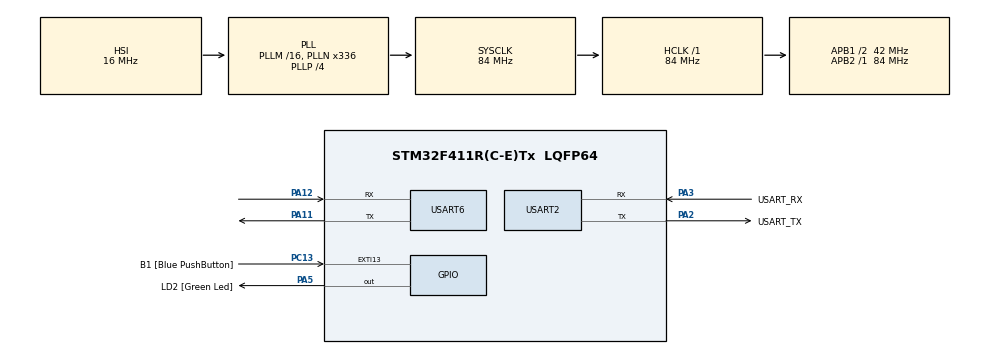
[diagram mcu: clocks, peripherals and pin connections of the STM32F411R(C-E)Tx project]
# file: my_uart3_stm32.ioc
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Mcu.Family=STM32F4
Mcu.Name=STM32F411R(C-E)Tx
Mcu.Package=LQFP64
NVIC.PriorityGroup=NVIC_PRIORITYGROUP_0
NVIC.USART2_IRQn=true\:0\:0\:false\:false\:true\:true\:true\:true
NVIC.USART6_IRQn=true\:0\:0\:false\:false\:true\:true\:true\:true
PA11.Mode=Asynchronous
PA11.Signal=USART6_TX
PA12.Mode=Asynchronous
PA12.Signal=USART6_RX
PA13.GPIO_Label=TMS
PA13.Mode=Serial_Wire
PA13.Signal=SYS_JTMS-SWDIO
PA14.GPIO_Label=TCK
PA14.Mode=Serial_Wire
PA14.Signal=SYS_JTCK-SWCLK
PA2.GPIO_Label=USART_TX
PA2.Mode=Asynchronous
PA2.Signal=USART2_TX
PA3.GPIO_Label=USART_RX
PA3.Mode=Asynchronous
PA3.Signal=USART2_RX
PA5.GPIO_Label=LD2 [Green Led]
PA5.Signal=GPIO_Output
PB3.GPIO_Label=SWO
PB3.Signal=SYS_JTDO-SWO
PC13-ANTI_TAMP.GPIO_Label=B1 [Blue PushButton]
PC13-ANTI_TAMP.GPIO_ModeDefaultEXTI=GPIO_MODE_IT_FALLING
PC13-ANTI_TAMP.Signal=GPXTI13
PC14-OSC32_IN.Mode=LSE-External-Oscillator
PC14-OSC32_IN.Signal=RCC_OSC32_IN
PC15-OSC32_OUT.Mode=LSE-External-Oscillator
PC15-OSC32_OUT.Signal=RCC_OSC32_OUT
PH0\ -\ OSC_IN.Mode=HSE-External-Clock-Source
PH0\ -\ OSC_IN.Signal=RCC_OSC_IN
PH1\ -\ OSC_OUT.Mode=HSE-External-Clock-Source
PH1\ -\ OSC_OUT.Signal=RCC_OSC_OUT
ProjectManager.HeapSize=0x200
ProjectManager.StackSize=0x400
ProjectManager.TargetToolchain=STM32CubeIDE
RCC.48MHZClocksFreq_Value=84000000
RCC.AHBFreq_Value=84000000
RCC.APB1CLKDivider=RCC_HCLK_DIV2
RCC.APB1Freq_Value=42000000
RCC.APB1TimFreq_Value=84000000
RCC.APB2Freq_Value=84000000
RCC.APB2TimFreq_Value=84000000
RCC.CortexFreq_Value=84000000
RCC.FLatency-AdvancedSettings=FLASH_LATENCY_2
RCC.HCLKFreq_Value=84000000
RCC.HSE_VALUE=8000000
RCC.HSI_VALUE=16000000
RCC.PLLN=336
RCC.PLLP=RCC_PLLP_DIV4
RCC.SYSCLKFreq_VALUE=84000000
RCC.SYSCLKSource=RCC_SYSCLKSOURCE_PLLCLK
RCC.VCOOutputFreq_Value=336000000
USART2.VirtualMode=VM_ASYNC
USART6.VirtualMode=VM_ASYNC
board=NUCLEO-F411RE

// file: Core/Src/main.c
 /* USER CODE BEGIN Header */
/**
  ******************************************************************************
  * @file           : main.c
  * @brief          : Main program body
  ******************************************************************************
  * @attention
  *
  * Copyright (c) 2025 STMicroelectronics.
  * All rights reserved.
  *
  * This software is licensed under terms that can be found in the LICENSE file
  * in the root directory of this software component.
  * If no LICENSE file comes with this software, it is provided AS-IS.
  *
  ******************************************************************************
  */
/* USER CODE END Header */
#include "main.h"

/* USER CODE BEGIN Includes */
#include <stdio.h>
/* USER CODE END Includes */

UART_HandleTypeDef huart2;
UART_HandleTypeDef huart6;

/* USER CODE BEGIN PV */
uint8_t rx_data = 0;
/* USER CODE END PV */

void SystemClock_Config(void);
static void MX_GPIO_Init(void);
static void MX_USART2_UART_Init(void);
static void MX_USART6_UART_Init(void);

int main(void)
{

  /* MCU Configuration--------------------------------------------------------*/

  /* Reset of all peripherals, Initializes the Flash interface and the Systick. */
  HAL_Init();

  /* Configure the system clock */
  SystemClock_Config();

  /* Initialize all configured peripherals */
  MX_GPIO_Init();
  MX_USART2_UART_Init();
  MX_USART6_UART_Init();
  /* USER CODE BEGIN 2 */
  HAL_UART_Receive_IT(&huart2, &rx_data, 1); // 인터럽트 기반 수신 시작
  /* USER CODE END 2 */

  /* Infinite loop */
  /* USER CODE BEGIN WHILE */
  while (1)
  {

	      // 폴링 방식으로 1바이트 수신 (timeout 10ms)
	      if (HAL_UART_Receive(&huart6, &rx_data, 1, 10) == HAL_OK)
	      {
	        // LED 토글 (수신 시마다 깜빡임)
	        HAL_GPIO_TogglePin(GPIOA, GPIO_PIN_5);

	        // 수신한 데이터를 다시 송신(에코)
	        HAL_UART_Transmit(&huart6, &rx_data, 1, 10);
	      }
	      // (추가로 타임아웃 후 다른 작업을 하고 싶으면 else문 사용)

    /* USER CODE END WHILE */

  }
}

void SystemClock_Config(void)
{
  RCC_OscInitTypeDef RCC_OscInitStruct = {0};
  RCC_ClkInitTypeDef RCC_ClkInitStruct = {0};

  /** Configure the main internal regulator output voltage
  */
  __HAL_RCC_PWR_CLK_ENABLE();
  __HAL_PWR_VOLTAGESCALING_CONFIG(PWR_REGULATOR_VOLTAGE_SCALE1);

  /** Initializes the RCC Oscillators according to the specified parameters
  * in the RCC_OscInitTypeDef structure.
  */
  RCC_OscInitStruct.OscillatorType = RCC_OSCILLATORTYPE_HSI;
  RCC_OscInitStruct.HSIState = RCC_HSI_ON;
  RCC_OscInitStruct.HSICalibrationValue = RCC_HSICALIBRATION_DEFAULT;
  RCC_OscInitStruct.PLL.PLLState = RCC_PLL_ON;
  RCC_OscInitStruct.PLL.PLLSource = RCC_PLLSOURCE_HSI;
  RCC_OscInitStruct.PLL.PLLM = 16;
  RCC_OscInitStruct.PLL.PLLN = 336;
  RCC_OscInitStruct.PLL.PLLP = RCC_PLLP_DIV4;
  RCC_OscInitStruct.PLL.PLLQ = 4;
  if (HAL_RCC_OscConfig(&RCC_OscInitStruct) != HAL_OK)
  {
    Error_Handler();
  }

  /** Initializes the CPU, AHB and APB buses clocks
  */
  RCC_ClkInitStruct.ClockType = RCC_CLOCKTYPE_HCLK|RCC_CLOCKTYPE_SYSCLK
                              |RCC_CLOCKTYPE_PCLK1|RCC_CLOCKTYPE_PCLK2;
  RCC_ClkInitStruct.SYSCLKSource = RCC_SYSCLKSOURCE_PLLCLK;
  RCC_ClkInitStruct.AHBCLKDivider = RCC_SYSCLK_DIV1;
  RCC_ClkInitStruct.APB1CLKDivider = RCC_HCLK_DIV2;
  RCC_ClkInitStruct.APB2CLKDivider = RCC_HCLK_DIV1;

  if (HAL_RCC_ClockConfig(&RCC_ClkInitStruct, FLASH_LATENCY_2) != HAL_OK)
  {
    Error_Handler();
  }
}

static void MX_USART2_UART_Init(void)
{

  huart2.Instance = USART2;
  huart2.Init.BaudRate = 115200;
  huart2.Init.WordLength = UART_WORDLENGTH_8B;
  huart2.Init.StopBits = UART_STOPBITS_1;
  huart2.Init.Parity = UART_PARITY_NONE;
  huart2.Init.Mode = UART_MODE_TX_RX;
  huart2.Init.HwFlowCtl = UART_HWCONTROL_NONE;
  huart2.Init.OverSampling = UART_OVERSAMPLING_16;
  if (HAL_UART_Init(&huart2) != HAL_OK)
  {
    Error_Handler();
  }

}

static void MX_USART6_UART_Init(void)
{

  huart6.Instance = USART6;
  huart6.Init.BaudRate = 115200;
  huart6.Init.WordLength = UART_WORDLENGTH_8B;
  huart6.Init.StopBits = UART_STOPBITS_1;
  huart6.Init.Parity = UART_PARITY_NONE;
  huart6.Init.Mode = UART_MODE_TX_RX;
  huart6.Init.HwFlowCtl = UART_HWCONTROL_NONE;
  huart6.Init.OverSampling = UART_OVERSAMPLING_16;
  if (HAL_UART_Init(&huart6) != HAL_OK)
  {
    Error_Handler();
  }

}

static void MX_GPIO_Init(void)
{
  GPIO_InitTypeDef GPIO_InitStruct = {0};

  /* GPIO Ports Clock Enable */
  __HAL_RCC_GPIOC_CLK_ENABLE();
  __HAL_RCC_GPIOH_CLK_ENABLE();
  __HAL_RCC_GPIOA_CLK_ENABLE();
  __HAL_RCC_GPIOB_CLK_ENABLE();

  /*Configure GPIO pin Output Level */
  HAL_GPIO_WritePin(LD2_GPIO_Port, LD2_Pin, GPIO_PIN_RESET);

  /*Configure GPIO pin : B1_Pin */
  GPIO_InitStruct.Pin = B1_Pin;
  GPIO_InitStruct.Mode = GPIO_MODE_IT_FALLING;
  GPIO_InitStruct.Pull = GPIO_NOPULL;
  HAL_GPIO_Init(B1_GPIO_Port, &GPIO_InitStruct);

  /*Configure GPIO pin : LD2_Pin */
  GPIO_InitStruct.Pin = LD2_Pin;
  GPIO_InitStruct.Mode = GPIO_MODE_OUTPUT_PP;
  GPIO_InitStruct.Pull = GPIO_NOPULL;
  GPIO_InitStruct.Speed = GPIO_SPEED_FREQ_LOW;
  HAL_GPIO_Init(LD2_GPIO_Port, &GPIO_InitStruct);

}

/* USER CODE BEGIN 4 */
void HAL_UART_RxCpltCallback(UART_HandleTypeDef *huart)
{
  if (huart->Instance == USART2)
  {
//	printf("Received! (data=0x%02X)\r\n", rx_data);
	HAL_GPIO_TogglePin(GPIOA, GPIO_PIN_5); // Nucleo 보드 LED
    HAL_UART_Transmit(&huart2, &rx_data, 1, 10);      // 받은 데이터 에코 송신
    HAL_UART_Receive_IT(&huart2, &rx_data, 1);        // 다음 데이터 수신 준비
  }
}

#ifdef __GNUC__
int __io_putchar(int ch)
#else
int fputc(int ch, FILE *f)
#endif
{
  HAL_UART_Transmit(&huart2, (uint8_t *)&ch, 1, 0xFFFF);
  return ch;
}
/* USER CODE END 4 */

void Error_Handler(void)
{
  __disable_irq();
  while (1)
  {
  }
}
